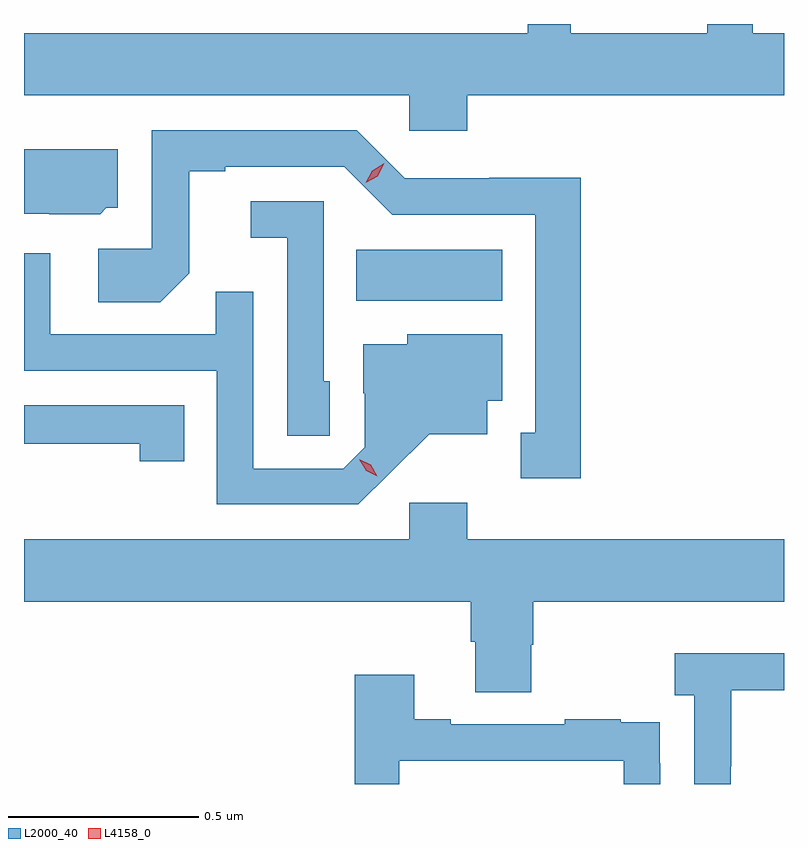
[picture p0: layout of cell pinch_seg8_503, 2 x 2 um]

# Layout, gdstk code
import gdstk
lib = gdstk.Library(unit=1e-6, precision=1e-09)
def R(c, l, rs):  # rectangles x0, y0, x1, y1
    for r in rs: c.add(gdstk.rectangle(r[:2], r[2:], *l))
def P(c, l, *ps):  # polygons
    for p in ps: c.add(gdstk.Polygon(p, *l))
L2000_40 = (2000, 40)
L4158_0 = (4158, 0)

pinch_seg8_503 = lib.new_cell('pinch_seg8_503')
R(pinch_seg8_503, L2000_40, [(210.85,1138.604,211.234,1138.738)])
P(pinch_seg8_503, L2000_40, [(211.142,1139.144),(211.976,1139.144),(211.976,1139.308),(211.894,1139.308),(211.894,1139.332),(211.774,1139.332),(211.774,1139.308),(211.415,1139.308),(211.415,1139.332),(211.301,1139.332),(211.301,1139.308),(209.976,1139.308),(209.976,1139.144),(210.99,1139.144),(210.99,1139.051),(211.142,1139.051)],
  [(211.441,1138.928),(211.2,1138.928),(211.2,1138.926),(210.978,1138.926),(210.852,1139.052),(210.312,1139.052),(210.312,1138.74),(210.171,1138.74),(210.171,1138.6),(210.335,1138.6),(210.411,1138.676),(210.411,1138.944),(210.505,1138.944),(210.505,1138.956),(210.819,1138.956),(210.945,1138.83),(211.322,1138.83),(211.322,1138.257),(211.283,1138.257),(211.283,1138.137),(211.441,1138.137)],
  [(210.192,1138.848),(210.223,1138.848),(210.223,1139.002),(209.976,1139.002),(209.976,1138.833),(210.042,1138.833),(210.042,1138.832),(210.176,1138.832)],
  [(210.78,1138.392),(210.765,1138.392),(210.765,1138.866),(210.573,1138.866),(210.573,1138.769),(210.669,1138.769),(210.669,1138.249),(210.78,1138.249)],
  [(210.94,1138.151),(211.043,1138.253),(211.195,1138.253),(211.195,1138.34),(211.234,1138.34),(211.234,1138.516),(210.984,1138.516),(210.984,1138.489),(210.869,1138.489),(210.869,1138.36),(210.873,1138.36),(210.873,1138.218),(210.816,1138.161),(210.579,1138.161),(210.579,1138.628),(210.481,1138.628),(210.481,1138.515),(210.045,1138.515),(210.045,1138.729),(209.976,1138.729),(209.976,1138.419),(210.483,1138.419),(210.483,1138.068),(210.856,1138.068)],
  [(210.398,1138.329),(209.976,1138.329),(209.976,1138.228),(210.28,1138.228),(210.28,1138.182),(210.398,1138.182)],
  [(211.142,1138.072),(210.99,1138.072),(210.99,1137.976),(209.976,1137.976),(209.976,1137.812),(211.151,1137.812),(211.151,1137.706),(211.163,1137.706),(211.163,1137.574),(211.311,1137.574),(211.311,1137.699),(211.316,1137.699),(211.316,1137.812),(211.976,1137.812),(211.976,1137.976),(211.142,1137.976)],
  [(211.836,1137.379),(211.837,1137.379),(211.837,1137.579),(211.976,1137.579),(211.976,1137.676),(211.689,1137.676),(211.689,1137.566),(211.74,1137.566),(211.74,1137.332),(211.836,1137.332)],
  [(210.963,1137.393),(211.554,1137.393),(211.554,1137.332),(211.65,1137.332),(211.65,1137.386),(211.649,1137.386),(211.649,1137.495),(211.547,1137.495),(211.547,1137.502),(211.399,1137.502),(211.399,1137.489),(211.099,1137.489),(211.099,1137.502),(211.003,1137.502),(211.003,1137.619),(210.847,1137.619),(210.847,1137.332),(210.963,1137.332)])
P(pinch_seg8_503, L4158_0, [(210.875,1138.914),(210.875,1138.914),(210.892,1138.946),(210.924,1138.965),(210.924,1138.965),(210.924,1138.965),(210.907,1138.932),(210.875,1138.914)],
  [(210.906,1138.142),(210.876,1138.157),(210.858,1138.186),(210.858,1138.186),(210.858,1138.186),(210.889,1138.172),(210.906,1138.142),(210.906,1138.142)])

lib.write_gds('pinch_seg8_503.gds')
